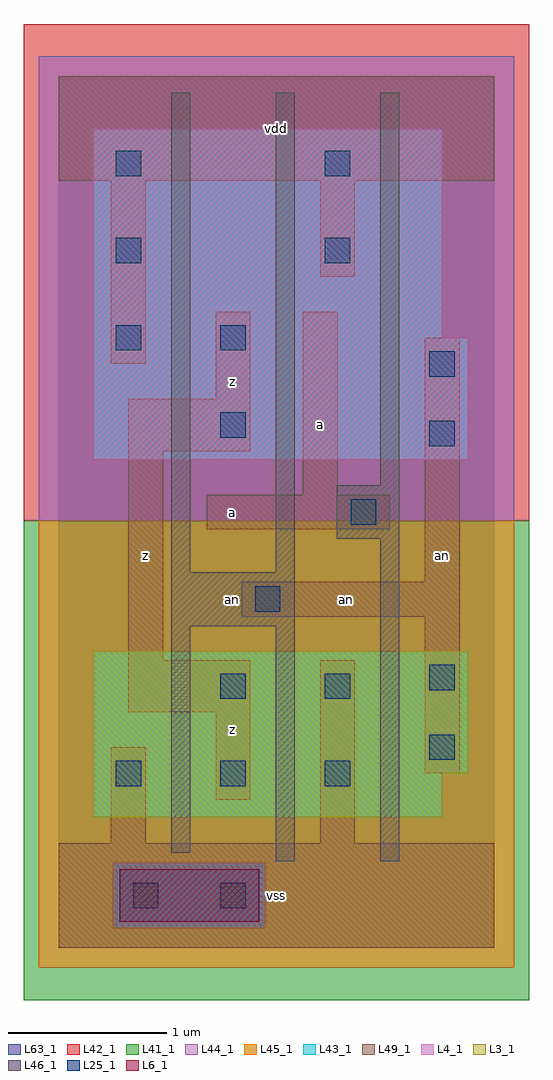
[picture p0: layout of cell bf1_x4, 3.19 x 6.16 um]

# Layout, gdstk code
import gdstk
lib = gdstk.Library(unit=1e-6, precision=1e-09)
def R(c, l, rs):  # rectangles x0, y0, x1, y1
    for r in rs: c.add(gdstk.rectangle(r[:2], r[2:], *l))
def A(c, l, x, y, w, h, nx, ny, dx, dy):  # array of equal rectangles
    R(c, l, [(x+i*dx, y+j*dy, x+i*dx+w, y+j*dy+h) for i in range(nx) for j in range(ny)])
L3_1 = (3, 1)
L4_1 = (4, 1)
L6_1 = (6, 1)
L25_1 = (25, 1)
L41_1 = (41, 1)
L42_1 = (42, 1)
L43_1 = (43, 1)
L44_1 = (44, 1)
L45_1 = (45, 1)
L46_1 = (46, 1)
L49_1 = (49, 1)
L63_1 = (63, 1)

bf1_x4 = lib.new_cell('bf1_x4')
R(bf1_x4, L3_1, [(0.22,0.825,2.42,1.1), (0.22,1.1,2.585,1.87)])
R(bf1_x4, L4_1, [(0.22,3.08,2.585,3.85), (0.22,3.85,2.42,5.17)])
R(bf1_x4, L6_1, [(0.385,0.165,1.265,0.495)])
A(bf1_x4, L25_1, 0.36, 1.02, 0.16, 0.16, 3, 1, 0.66, 0)
A(bf1_x4, L25_1, 0.36, 3.77, 0.16, 0.16, 1, 3, 0, 0.55)
R(bf1_x4, L25_1, [(0.47,0.25,0.63,0.41), (1.02,0.25,1.18,0.41), (2.34,1.185,2.5,1.345), (1.02,1.57,1.18,1.73), (1.68,1.57,1.84,1.73), (2.34,1.625,2.5,1.785), (1.24,2.12,1.4,2.28), (1.845,2.67,2.005,2.83), (2.34,3.165,2.5,3.325), (1.02,3.22,1.18,3.38), (2.34,3.605,2.5,3.765), (1.02,3.77,1.18,3.93), (1.68,4.32,1.84,4.48), (1.68,4.87,1.84,5.03)])
R(bf1_x4, L41_1, [(-0.22,-0.33,2.97,2.695)])
R(bf1_x4, L42_1, [(-0.22,2.695,2.97,5.83)])
R(bf1_x4, L43_1, [(0.385,0.165,1.265,0.495), (0.22,0.825,2.42,1.1), (0.22,1.1,2.585,1.87), (0.22,3.08,2.585,3.85), (0.22,3.85,2.42,5.17)])
R(bf1_x4, L44_1, [(0.345,0.125,1.305,0.535), (-0.125,2.695,2.875,5.625)])
R(bf1_x4, L45_1, [(-0.125,-0.125,2.875,0.125), (-0.125,0.125,0.345,0.535), (1.305,0.125,2.875,0.535), (-0.125,0.535,2.875,2.695)])
R(bf1_x4, L46_1, [(1.37,0.545,1.49,2.03), (2.03,0.545,2.15,2.58), (0.71,0.6,0.83,2.03), (0.71,2.03,1.49,2.37), (0.71,2.37,0.83,5.395), (1.37,2.37,1.49,5.395), (1.755,2.58,2.15,2.92), (2.03,2.92,2.15,5.395)])
R(bf1_x4, L49_1, [(0,0,2.75,0.66), (0.33,0.66,0.55,1.265), (1.65,0.66,1.87,1.815), (0.99,0.935,1.21,1.485), (2.31,1.1,2.53,2.09), (0.44,1.485,1.21,1.815), (0.44,1.815,0.66,3.135), (1.155,2.09,2.53,2.31), (2.31,2.31,2.53,3.85), (0.935,2.64,2.09,2.86), (1.54,2.86,1.76,4.015), (0.44,3.135,1.21,3.465), (0.99,3.465,1.21,4.015), (0.33,3.685,0.55,4.84), (1.65,4.235,1.87,4.84), (0,4.84,2.75,5.5)])
R(bf1_x4, L63_1, [(0,0,2.75,5.5)])
bf1_x4.add(gdstk.Label('an', (1.1,2.2), layer=46, texttype=1))
bf1_x4.add(gdstk.Label('z', (1.1,1.375), layer=49, texttype=1))
bf1_x4.add(gdstk.Label('z', (1.1,1.375), layer=49, texttype=1))
bf1_x4.add(gdstk.Label('z', (0.55,2.475), layer=49, texttype=1))
bf1_x4.add(gdstk.Label('z', (0.55,2.475), layer=49, texttype=1))
bf1_x4.add(gdstk.Label('a', (1.1,2.75), layer=49, texttype=1))
bf1_x4.add(gdstk.Label('a', (1.1,2.75), layer=49, texttype=1))
bf1_x4.add(gdstk.Label('z', (1.1,3.575), layer=49, texttype=1))
bf1_x4.add(gdstk.Label('z', (1.1,3.575), layer=49, texttype=1))
bf1_x4.add(gdstk.Label('vss', (1.375,0.33), layer=49, texttype=1))
bf1_x4.add(gdstk.Label('vss', (1.375,0.33), layer=49, texttype=1))
bf1_x4.add(gdstk.Label('a', (1.65,3.3), layer=49, texttype=1))
bf1_x4.add(gdstk.Label('a', (1.65,3.3), layer=49, texttype=1))
bf1_x4.add(gdstk.Label('vdd', (1.375,5.17), layer=49, texttype=1))
bf1_x4.add(gdstk.Label('vdd', (1.375,5.17), layer=49, texttype=1))
bf1_x4.add(gdstk.Label('an', (1.815,2.2), layer=49, texttype=1))
bf1_x4.add(gdstk.Label('an', (2.42,2.475), layer=49, texttype=1))

lib.write_gds('bf1_x4.gds')
